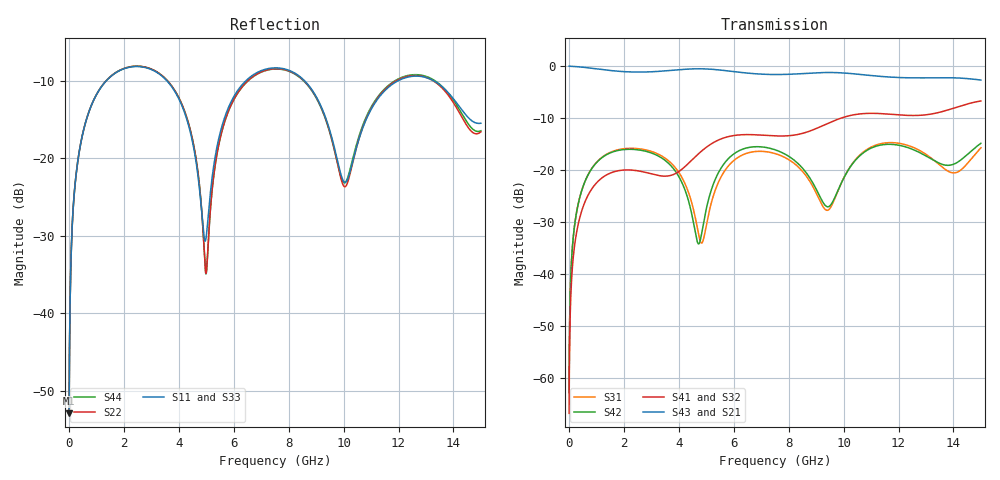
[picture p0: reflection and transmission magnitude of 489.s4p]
! Created with skrf 1.8.0 (http://scikit-rf.org).
# GHz S RI R 50.0
!freq ReS11 ImS11 ReS12 ImS12 ReS13 ImS13
! ReS14 ImS14
! ReS21 ImS21 ReS22 ImS22 ReS23 ImS23
! ReS24 ImS24
! ReS31 ImS31 ReS32 ImS32 ReS33 ImS33
! ReS34 ImS34
! ReS41 ImS41 ReS42 ImS42 ReS43 ImS43
! ReS44 ImS44
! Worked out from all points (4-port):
!   2499 points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, 5 MHz to 15 GHz, reference 50 ohm
!   strongest paths, dB at 5 MHz, 3.476 GHz, 7.19 GHz, 11.1 GHz, 15 GHz:
!     S43: 0.0, -0.9, -1.6, -1.9, -2.7
!     S21: 0.0, -0.9, -1.6, -1.9, -2.7
!     S41: -66.8, -21.2, -13.3, -9.1, -6.7
!     S32: -66.8, -21.2, -13.4, -9.1, -6.7
!     S42: -62.8, -18.0, -15.7, -15.6, -14.8
!     S31: -62.8, -17.6, -16.5, -15.3, -15.7
!   lowest |S11| = -52.9 dB at 5 MHz (marker M1), VSWR 1.00, Z = 50.2 + j0.137 ohm
!   |S11| at or under -10 dB: 3.563 GHz to 6.443 GHz (2.88 GHz wide, 57.6 % of centre); 8.576 GHz to 11.99 GHz (3.411 GHz wide, 33.2 % of centre); 13.28 GHz to end of sweep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
0.005  0.0018 0.00137  0.9982 -0.0035  9.11e-05 0.000718  -8.84e-05 -0.00045
       0.9982 -0.0035  0.0018 0.00137  -8.84e-05 -0.00045  9.1e-05 0.000718
       9.11e-05 0.000718  -8.84e-05 -0.00045  0.0018 0.00137  0.9982 -0.0035
       -8.84e-05 -0.00045  9.1e-05 0.000718  0.9982 -0.0035  0.0018 0.00137
0.3126303  0.0281 0.0891  0.9615 -0.217  0.0134 0.0421  -0.0109 -0.026
           0.9615 -0.217  0.0282 0.0891  -0.0109 -0.026  0.0129 0.0422
           0.0134 0.0421  -0.0109 -0.026  0.0281 0.0891  0.9615 -0.217
           -0.0109 -0.026  0.0129 0.0422  0.9615 -0.217  0.0282 0.0891
1.469362  0.2813 0.1735  0.5224 -0.7441  0.1361 0.0548  -0.0927 -0.00151
          0.5224 -0.7441  0.2832 0.1721  -0.0926 -0.00164  0.131 0.0622
          0.1361 0.0548  -0.0926 -0.00164  0.2814 0.1734  0.5224 -0.7441
          -0.0927 -0.00151  0.131 0.0622  0.5224 -0.7441  0.2831 0.1722
4.989579  0.0294 0.00787  -0.9367 -0.0607  -0.0134 0.025  -0.00481 0.1648
          -0.9367 -0.0607  0.018 -0.000226  -0.00689 0.1647  0.0278 0.0302
          -0.0134 0.025  -0.00689 0.1647  0.0294 0.00777  -0.9367 -0.0609
          -0.00481 0.1648  0.0278 0.0302  -0.9367 -0.0609  0.0179 -0.000401
7.5594  0.3828 -0.00146  -0.0738 0.8256  0.1234 -0.0716  0.2091 -0.0403
        -0.0738 0.8256  0.3784 0.00452  0.2085 -0.0359  0.1279 -0.0874
        0.1234 -0.0716  0.2085 -0.0359  0.3822 -0.0038  -0.0741 0.8262
        0.2091 -0.0403  0.1279 -0.0874  -0.0741 0.8262  0.3763 0.00708
10.34806  0.0838 0.0496  0.8421 -0.0616  0.0456 0.109  -0.0465 -0.336
          0.8421 -0.0616  0.0803 0.053  -0.038 -0.3374  0.0406 0.1096
          0.0456 0.109  -0.038 -0.3374  0.0802 0.0551  0.8418 -0.0625
          -0.0465 -0.336  0.0406 0.1096  0.8418 -0.0625  0.0848 0.0557
15  0.1674 -0.0156  -0.7143 -0.1705  -0.022 0.1624  -0.0986 0.4516
    -0.7143 -0.1705  0.1475 0.0106  -0.113 0.448  -0.0676 0.168
    -0.022 0.1624  -0.113 0.448  0.17 -0.0215  -0.7129 -0.1749
    -0.0986 0.4516  -0.0676 0.168  -0.7129 -0.1749  0.1503 -0.00275
